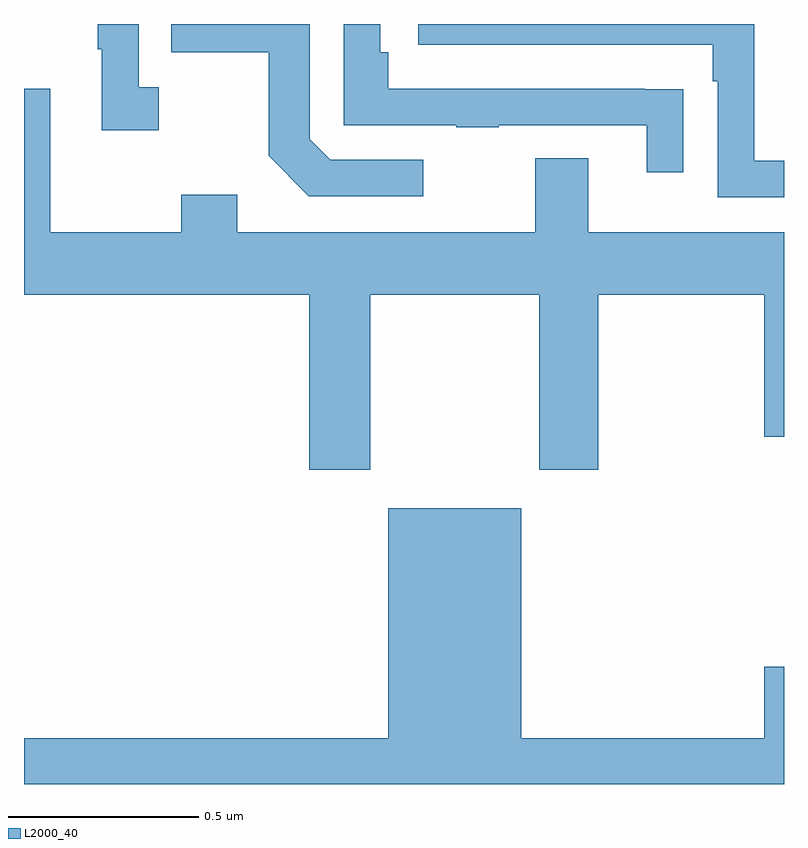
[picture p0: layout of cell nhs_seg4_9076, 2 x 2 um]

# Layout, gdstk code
import gdstk
lib = gdstk.Library(unit=1e-6, precision=1e-09)
def P(c, l, *ps):  # polygons
    for p in ps: c.add(gdstk.Polygon(p, *l))
L2000_40 = (2000, 40)

nhs_seg4_9076 = lib.new_cell('nhs_seg4_9076')
P(nhs_seg4_9076, L2000_40, [(224.735,762.728),(224.633,762.728),(224.633,762.729),(223.958,762.729),(223.958,762.826),(223.938,762.826),(223.938,762.9),(223.842,762.9),(223.842,762.633),(224.137,762.633),(224.137,762.628),(224.249,762.628),(224.249,762.633),(224.639,762.633),(224.639,762.51),(224.735,762.51)],
  [(225,762.54),(224.922,762.54),(224.922,762.9),(224.037,762.9),(224.037,762.846),(224.813,762.846),(224.813,762.749),(224.826,762.749),(224.826,762.444),(225,762.444)],
  [(223.354,762.734),(223.302,762.734),(223.302,762.9),(223.194,762.9),(223.194,762.833),(223.205,762.833),(223.205,762.621),(223.354,762.621)],
  [(224.05,762.543),(223.806,762.543),(223.752,762.597),(223.752,762.9),(223.387,762.9),(223.387,762.826),(223.644,762.826),(223.644,762.553),(223.749,762.447),(224.05,762.447)],
  [(224.345,762.352),(223.561,762.352),(223.561,762.451),(223.414,762.451),(223.414,762.352),(223.069,762.352),(223.069,762.73),(223,762.73),(223,762.188),(223.751,762.188),(223.751,761.727),(223.911,761.727),(223.911,762.188),(224.356,762.188),(224.356,761.727),(224.511,761.727),(224.511,762.188),(224.948,762.188),(224.948,761.814),(225,761.814),(225,762.352),(224.485,762.352),(224.485,762.547),(224.345,762.547)],
  [(225,761.209),(224.948,761.209),(224.948,761.02),(224.308,761.02),(224.308,761.626),(223.958,761.626),(223.958,761.02),(223,761.02),(223,760.9),(225,760.9)])

lib.write_gds('nhs_seg4_9076.gds')
